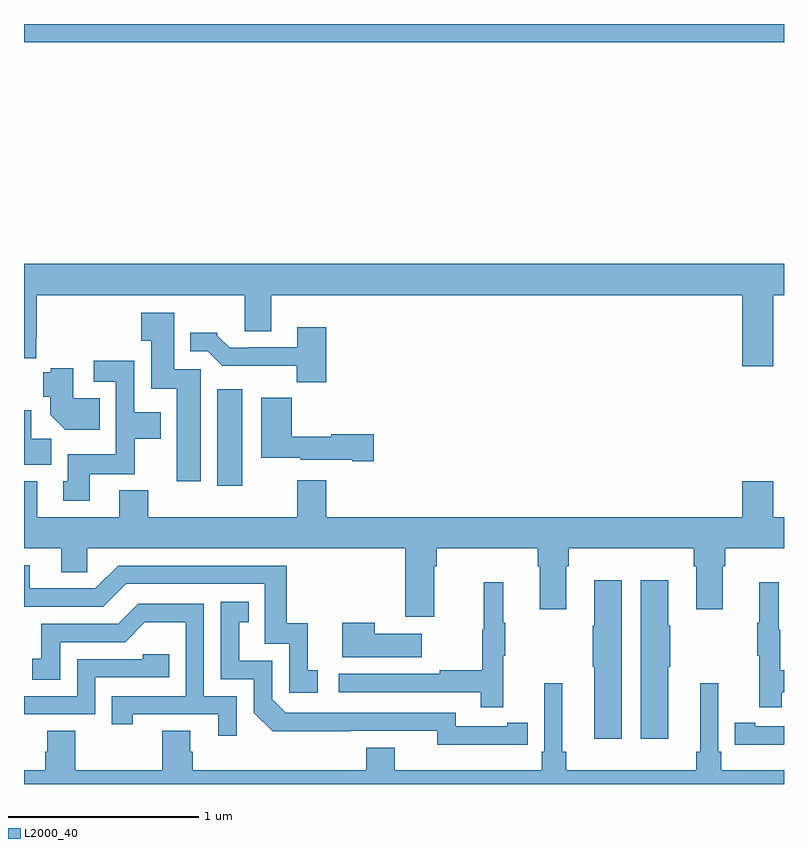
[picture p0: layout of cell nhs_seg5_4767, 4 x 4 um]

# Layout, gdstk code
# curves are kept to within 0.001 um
import gdstk
lib = gdstk.Library(unit=1e-6, precision=1e-09)
def R(c, l, rs):  # rectangles x0, y0, x1, y1
    for r in rs: c.add(gdstk.rectangle(r[:2], r[2:], *l))
def P(c, l, *ps):  # polygons
    for p in ps: c.add(gdstk.Polygon(p, *l))
L2000_40 = (2000, 40)

nhs_seg5_4767 = lib.new_cell('nhs_seg5_4767')
R(nhs_seg5_4767, L2000_40, [(390.017,910.368,390.148,910.876), (389,912.704,393,912.799)])
P(nhs_seg5_4767, L2000_40, [(392.944,911.372),(393,911.372),(393,911.536),(389,911.536),(389,911.04),(389.065,911.04),(389.065,911.152),(389.066,911.152),(389.066,911.372),(390.161,911.372),(390.161,911.182),(390.301,911.182),(390.301,911.372),(392.78,911.372),(392.78,910.998),(392.944,910.998)],
  [(389.929,910.983),(389.791,910.983),(389.791,911.278),(389.618,911.278),(389.618,911.131),(389.669,911.131),(389.669,910.88),(389.804,910.88),(389.804,910.392),(389.929,910.392)],
  [(390.59,911.203),(390.437,911.203),(390.437,911.097),(390.181,911.097),(390.181,911.094),(390.082,911.094),(390.018,911.158),(390.018,911.173),(389.876,911.173),(389.876,911.076),(389.967,911.076),(390.043,911),(390.435,911),(390.435,910.913),(390.59,910.913)],
  [(389.347,910.43),(389.583,910.43),(389.583,910.616),(389.719,910.616),(389.719,910.756),(389.58,910.756),(389.58,911.026),(389.367,911.026),(389.367,910.917),(389.484,910.917),(389.484,910.534),(389.231,910.534),(389.231,910.392),(389.207,910.392),(389.207,910.29),(389.347,910.29)],
  [(389.399,910.828),(389.26,910.828),(389.26,910.986),(389.142,910.986),(389.142,910.966),(389.1,910.966),(389.1,910.838),(389.138,910.838),(389.138,910.742),(389.216,910.664),(389.399,910.664)],
  [(390.841,910.64),(390.618,910.64),(390.618,910.627),(390.41,910.627),(390.41,910.831),(390.248,910.831),(390.248,910.517),(390.456,910.517),(390.456,910.505),(390.728,910.505),(390.728,910.498),(390.841,910.498)],
  [(389.143,910.616),(389.038,910.616),(389.038,910.765),(389,910.765),(389,910.478),(389.143,910.478)],
  [(390.59,910.399),(390.437,910.399),(390.437,910.204),(389.654,910.204),(389.654,910.345),(389.501,910.345),(389.501,910.204),(389.071,910.204),(389.071,910.393),(389,910.393),(389,910.04),(389.195,910.04),(389.195,909.913),(389.334,909.913),(389.334,910.04),(391.007,910.04),(391.007,909.678),(391.159,909.678),(391.159,909.944),(391.172,909.944),(391.172,910.04),(391.703,910.04),(391.703,909.944),(391.715,909.944),(391.715,909.72),(391.855,909.72),(391.855,909.944),(391.868,909.944),(391.868,910.04),(392.525,910.04),(392.525,909.944),(392.537,909.944),(392.537,909.72),(392.677,909.72),(392.677,909.944),(392.69,909.944),(392.69,910.04),(393,910.04),(393,910.204),(392.944,910.204),(392.944,910.393),(392.78,910.393),(392.78,910.204),(390.59,910.204)],
  [(390.547,909.399),(390.494,909.399),(390.494,909.646),(390.383,909.646),(390.383,909.948),(389.496,909.948),(389.376,909.828),(389.029,909.828),(389.029,909.951),(389,909.951),(389,909.732),(389.418,909.732),(389.538,909.852),(390.267,909.852),(390.267,909.537),(390.396,909.537),(390.396,909.279),(390.547,909.279)],
  [(392.146,909.871),(392,909.871),(392,909.632),(391.993,909.632),(391.993,909.415),(392,909.415),(392,909.036),(392.146,909.036)],
  [(392.392,909.415),(392.4,909.415),(392.4,909.632),(392.392,909.632),(392.392,909.871),(392.246,909.871),(392.246,909.036),(392.392,909.036)],
  [(392.987,909.282),(393,909.282),(393,909.398),(392.98,909.398),(392.98,909.612),(392.972,909.612),(392.972,909.862),(392.87,909.862),(392.87,909.649),(392.859,909.649),(392.859,909.475),(392.87,909.475),(392.87,909.204),(392.987,909.204)],
  [(391.523,909.475),(391.534,909.475),(391.534,909.649),(391.523,909.649),(391.523,909.862),(391.42,909.862),(391.42,909.612),(391.413,909.612),(391.413,909.398),(391.189,909.398),(391.189,909.378),(390.657,909.378),(390.657,909.282),(391.405,909.282),(391.405,909.204),(391.523,909.204)],
  [(391.544,909.006),(391.652,909.006),(391.652,909.122),(391.544,909.122),(391.544,909.102),(391.272,909.102),(391.272,909.174),(390.378,909.174),(390.306,909.246),(390.306,909.447),(390.133,909.447),(390.133,909.651),(390.182,909.651),(390.182,909.757),(390.036,909.757),(390.036,909.351),(390.21,909.351),(390.21,909.174),(390.308,909.077),(391.176,909.078),(391.176,909.005)],
  [(390.12,909.261),(389.946,909.261),(389.946,909.747),(389.6,909.747),(389.495,909.642),(389.092,909.642),(389.092,909.457),(389.043,909.457),(389.043,909.348),(389.19,909.348),(389.19,909.546),(389.532,909.546),(389.636,909.65),(389.85,909.65),(389.85,909.261),(389.461,909.261),(389.461,909.114),(389.572,909.114),(389.572,909.165),(390.023,909.165),(390.023,909.054),(390.12,909.054)],
  [(391.093,909.589),(390.845,909.589),(390.845,909.649),(390.674,909.649),(390.674,909.467),(391.093,909.467)],
  [(389.376,909.36),(389.765,909.36),(389.765,909.483),(389.625,909.483),(389.625,909.456),(389.28,909.456),(389.28,909.261),(389,909.261),(389,909.165),(389.376,909.165)],
  [(391.853,908.968),(391.834,908.968),(391.834,909.328),(391.737,909.328),(391.737,908.968),(391.724,908.968),(391.724,908.872),(390.952,908.872),(390.952,908.989),(390.8,908.989),(390.8,908.872),(389.888,908.872),(389.888,908.97),(389.875,908.97),(389.875,909.08),(389.728,909.08),(389.728,908.872),(389.271,908.872),(389.271,909.08),(389.123,909.08),(389.123,908.97),(389.111,908.97),(389.111,908.872),(389,908.872),(389,908.799),(393,908.799),(393,908.872),(392.669,908.872),(392.669,908.968),(392.655,908.968),(392.655,909.328),(392.558,909.328),(392.558,908.968),(392.539,908.968),(392.539,908.872),(391.853,908.872)],
  [(393,909.102),(392.848,909.102),(392.848,909.122),(392.74,909.122),(392.74,909.006),(392.848,909.006),(392.848,909.005),(393,909.005)])

lib.write_gds('nhs_seg5_4767.gds')
